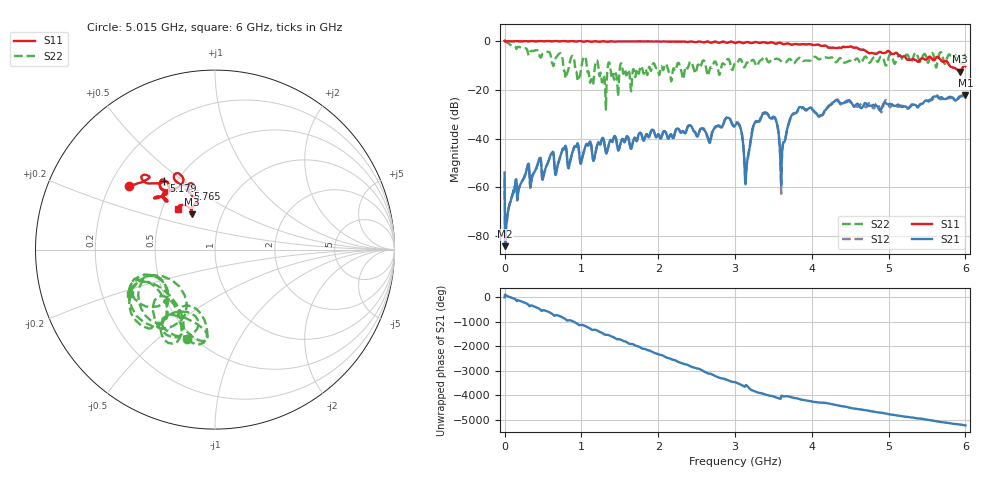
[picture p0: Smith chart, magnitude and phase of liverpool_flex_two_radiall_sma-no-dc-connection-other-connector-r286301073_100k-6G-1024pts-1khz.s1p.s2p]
# GHZ S RI R 50.000000000000
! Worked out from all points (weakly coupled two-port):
!   1024 points, 100 kHz to 6 GHz, reference 50 ohm
!   highest |S21| = -22.22 dB at 6 GHz (marker M1); lowest = -84.1 dB at 5.965 MHz (marker M2)
!   lowest |S11| = -12.5 dB at 5.924 GHz (marker M3), VSWR 1.62, Z = 35.8 + j15 ohm
!   |S11| at or under -10 dB: 5.794 GHz to end of sweep
!   |S22| runs from -28.1 to 0.3 dB; largest |S21 - S12| = 0.013
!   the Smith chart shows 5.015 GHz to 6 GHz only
!   S11 on the Smith chart (normalised r, x): 5.015 GHz: 0.28, +0.31; 5.179 GHz: 0.43, +0.42; 5.765 GHz: 0.60, +0.47; 6 GHz: 0.60, +0.30
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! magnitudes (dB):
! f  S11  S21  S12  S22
! 100 kHz  0.2  -53.9  -56.3  0.3
! 5.965 MHz  -0.1  -84.1  -81.2  -0.2
! 35.29 MHz  -0.1  -71.3  -72.0  -0.6
! 123.3 MHz  -0.1  -62.1  -61.5  -2.1
! 445.8 MHz  0.0  -48.7  -48.8  -4.6
! 1.003 GHz  -0.1  -49.1  -49.0  -9.9
! 1.296 GHz  -0.1  -41.3  -41.3  -14.7
! 2.006 GHz  -0.2  -38.2  -38.4  -13.2
! 3.003 GHz  -0.8  -34.6  -34.1  -9.1
! 3.15 GHz  -0.4  -52.2  -51.3  -9.1
! 3.243 GHz  -0.6  -34.4  -34.3  -7.8
! 3.372 GHz  -0.4  -29.4  -29.7  -6.6
! 3.531 GHz  -1.1  -32.3  -32.0  -7.2
! 3.607 GHz  -0.9  -50.0  -51.2  -8.4
! 3.748 GHz  -1.5  -30.0  -30.2  -8.7
! 4.006 GHz  -1.5  -28.0  -28.0  -7.2
! 5.003 GHz  -4.1  -25.9  -26.3  -6.4
! 5.015 GHz  -4.5  -25.7  -27.0  -5.6
! 5.179 GHz  -6.4  -27.1  -26.6  -7.4
! 5.765 GHz  -8.6  -23.4  -23.4  -6.6
! 5.924 GHz  -12.5  -22.7  -22.9  -7.6
! 6 GHz  -10.3  -22.2  -22.8  -5.4
